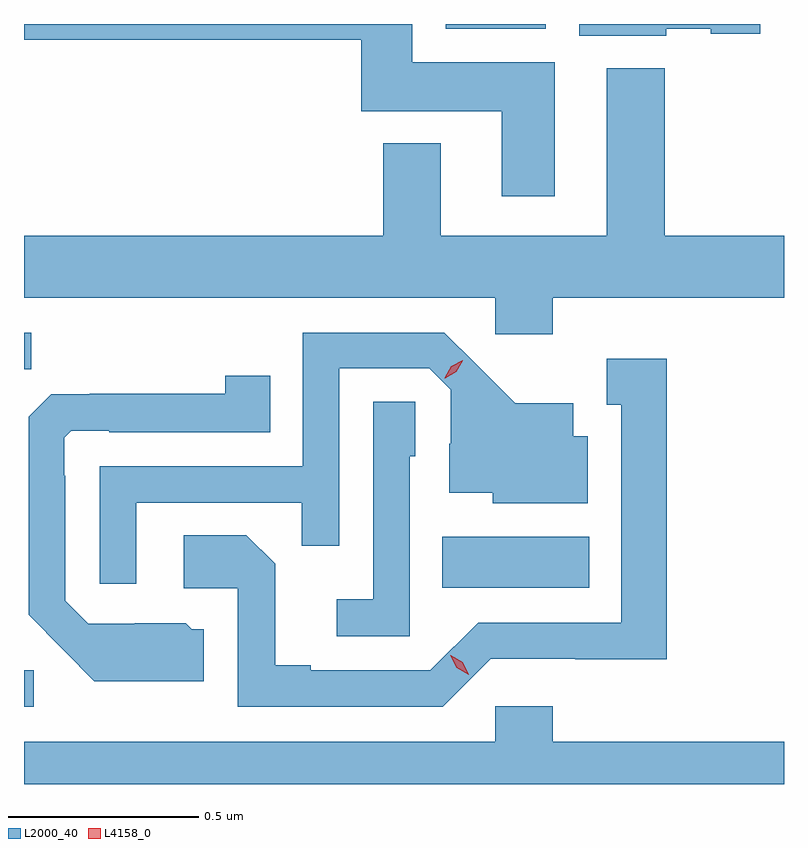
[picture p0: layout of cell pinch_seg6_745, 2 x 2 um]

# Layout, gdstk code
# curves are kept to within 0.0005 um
import gdstk
lib = gdstk.Library(unit=1e-6, precision=1e-09)
def R(c, l, rs):  # rectangles x0, y0, x1, y1
    for r in rs: c.add(gdstk.rectangle(r[:2], r[2:], *l))
def P(c, l, *ps):  # polygons
    for p in ps: c.add(gdstk.Polygon(p, *l))
L2000_40 = (2000, 40)
L4158_0 = (4158, 0)

pinch_seg6_745 = lib.new_cell('pinch_seg6_745')
R(pinch_seg6_745, L2000_40, [(605.354,944.928,605.38,945.024), (606.454,945.242,606.841,945.376), (605.354,945.817,605.373,945.912), (606.464,946.712,606.727,946.725)])
P(pinch_seg6_745, L2000_40, [(606.751,946.624),(606.376,946.624),(606.376,946.725),(605.354,946.725),(605.354,946.684),(606.242,946.684),(606.242,946.496),(606.611,946.496),(606.611,946.272),(606.751,946.272)],
  [(607.044,946.712),(607.161,946.712),(607.161,946.7),(607.291,946.7),(607.291,946.725),(606.815,946.725),(606.815,946.694),(607.044,946.694)],
  [(606.746,946.004),(607.354,946.004),(607.354,946.168),(607.04,946.168),(607.04,946.609),(606.887,946.609),(606.887,946.168),(606.451,946.168),(606.451,946.411),(606.299,946.411),(606.299,946.168),(605.354,946.168),(605.354,946.004),(606.594,946.004),(606.594,945.909),(606.746,945.909)],
  [(605.649,945.465),(606.085,945.465),(606.085,945.352),(606.183,945.352),(606.183,945.819),(606.42,945.819),(606.477,945.762),(606.477,945.62),(606.473,945.62),(606.473,945.491),(606.588,945.491),(606.588,945.464),(606.838,945.464),(606.838,945.64),(606.799,945.64),(606.799,945.727),(606.647,945.727),(606.46,945.912),(606.087,945.912),(606.087,945.561),(605.553,945.561),(605.553,945.252),(605.649,945.252)],
  [(606.582,945.054),(606.804,945.054),(606.804,945.053),(607.045,945.053),(607.045,945.844),(606.887,945.844),(606.887,945.723),(606.926,945.723),(606.926,945.15),(606.549,945.15),(606.423,945.024),(606.109,945.024),(606.109,945.037),(606.015,945.037),(606.015,945.304),(605.939,945.38),(605.775,945.38),(605.775,945.24),(605.916,945.24),(605.916,944.928),(606.456,944.928)],
  [(605.827,945.132),(605.796,945.132),(605.78,945.148),(605.646,945.148),(605.646,945.147),(605.523,945.147),(605.463,945.207),(605.463,945.536),(605.46,945.536),(605.46,945.636),(605.478,945.654),(605.578,945.654),(605.578,945.651),(606.002,945.651),(606.002,945.799),(605.884,945.799),(605.884,945.752),(605.527,945.752),(605.527,945.751),(605.426,945.751),(605.367,945.692),(605.367,945.17),(605.539,944.996),(605.827,944.996)],
  [(606.369,945.588),(606.384,945.588),(606.384,945.731),(606.273,945.731),(606.273,945.211),(606.177,945.211),(606.177,945.114),(606.369,945.114)],
  [(607.354,944.836),(606.746,944.836),(606.746,944.929),(606.594,944.929),(606.594,944.836),(605.354,944.836),(605.354,944.725),(607.354,944.725)])
P(pinch_seg6_745, L4158_0, [(606.461,945.793),(606.461,945.794),(606.478,945.824),(606.509,945.84),(606.509,945.84),(606.509,945.839),(606.492,945.81),(606.462,945.793)],
  [(606.525,945.012),(606.493,945.031),(606.476,945.064),(606.476,945.064),(606.477,945.064),(606.508,945.045),(606.525,945.012),(606.525,945.012)])

lib.write_gds('pinch_seg6_745.gds')
